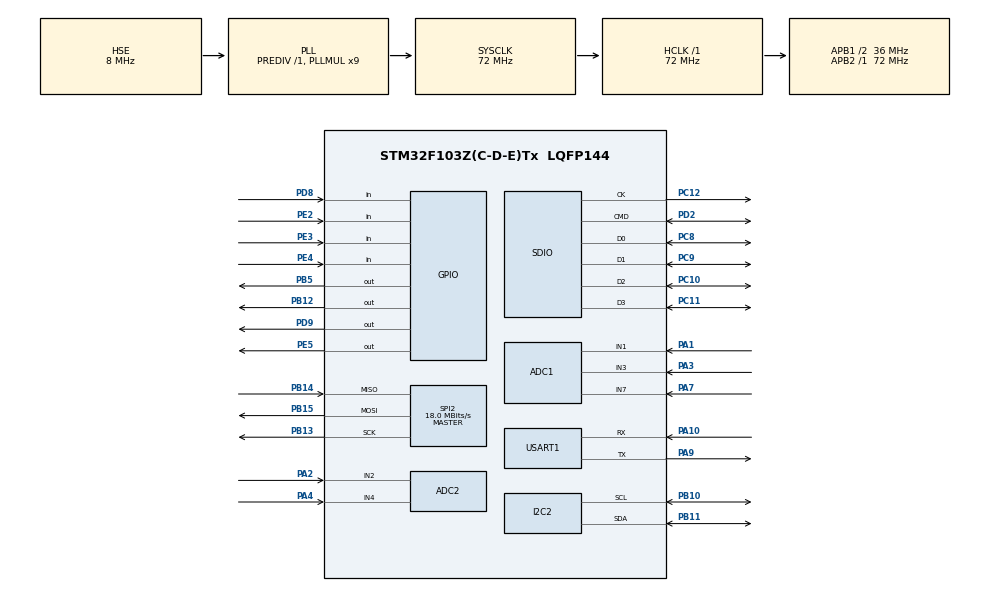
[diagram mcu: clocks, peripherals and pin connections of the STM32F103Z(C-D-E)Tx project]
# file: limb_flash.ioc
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ADC1.Channel-1\#ChannelRegularConversion=ADC_CHANNEL_1
ADC1.ContinuousConvMode=DISABLE
ADC1.NbrOfConversion=1
ADC1.NbrOfConversionFlag=1
ADC1.Rank-1\#ChannelRegularConversion=1
ADC1.SamplingTime-1\#ChannelRegularConversion=ADC_SAMPLETIME_1CYCLE_5
ADC1.master=1
ADC2.Channel-0\#ChannelRegularConversion=ADC_CHANNEL_2
ADC2.NbrOfConversionFlag=1
ADC2.Rank-0\#ChannelRegularConversion=1
ADC2.SamplingTime-0\#ChannelRegularConversion=ADC_SAMPLETIME_1CYCLE_5
Dma.Request0=SDIO
Dma.SDIO.0.Direction=DMA_PERIPH_TO_MEMORY
Dma.SDIO.0.Instance=DMA2_Channel4
Dma.SDIO.0.MemDataAlignment=DMA_MDATAALIGN_WORD
Dma.SDIO.0.MemInc=DMA_MINC_ENABLE
Dma.SDIO.0.Mode=DMA_NORMAL
Dma.SDIO.0.PeriphDataAlignment=DMA_PDATAALIGN_WORD
Dma.SDIO.0.PeriphInc=DMA_PINC_DISABLE
Dma.SDIO.0.Priority=DMA_PRIORITY_LOW
FATFS.BSP.number=1
FATFS._USE_FASTSEEK=0
FATFS0.BSP.STBoard=false
FATFS0.BSP.api=Unknown
FATFS0.BSP.i2caddr=0
FATFS0.BSP.instance=PE2
FATFS0.BSP.ip=GPIO
FATFS0.BSP.mode=Input
FATFS0.BSP.name=Detect_SDIO
FATFS0.BSP.solution=PE2
I2C2.I2C_Mode=I2C_Fast
Mcu.Family=STM32F1
Mcu.Name=STM32F103Z(C-D-E)Tx
Mcu.Package=LQFP144
NVIC.DMA2_Channel4_5_IRQn=true\:0\:0\:false\:false\:true\:false\:true
NVIC.PriorityGroup=NVIC_PRIORITYGROUP_4
NVIC.SDIO_IRQn=true\:0\:0\:false\:false\:true\:true\:true
NVIC.TIM4_IRQn=true\:0\:0\:false\:false\:true\:true\:true
NVIC.TIM6_IRQn=true\:0\:0\:false\:false\:true\:true\:true
OSC_IN.Mode=HSE-External-Oscillator
OSC_IN.Signal=RCC_OSC_IN
OSC_OUT.Mode=HSE-External-Oscillator
OSC_OUT.Signal=RCC_OSC_OUT
PA1.Signal=ADCx_IN1
PA10.Mode=Asynchronous
PA10.Signal=USART1_RX
PA13.Mode=Serial_Wire
PA13.Signal=SYS_JTMS-SWDIO
PA14.Mode=Serial_Wire
PA14.Signal=SYS_JTCK-SWCLK
PA2.Signal=ADCx_IN2
PA3.Signal=ADCx_IN3
PA4.Signal=ADCx_IN4
PA7.Signal=ADCx_IN7
PA9.Mode=Asynchronous
PA9.Signal=USART1_TX
PB10.Mode=I2C
PB10.Signal=I2C2_SCL
PB11.Mode=I2C
PB11.Signal=I2C2_SDA
PB12.Signal=GPIO_Output
PB13.Mode=Full_Duplex_Master
PB13.Signal=SPI2_SCK
PB14.Mode=Full_Duplex_Master
PB14.Signal=SPI2_MISO
PB15.Mode=Full_Duplex_Master
PB15.Signal=SPI2_MOSI
PB5.GPIO_ModeDefaultOutputPP=GPIO_MODE_OUTPUT_OD
PB5.Signal=GPIO_Output
PC10.Mode=SD_4_bits_Wide_bus
PC10.Signal=SDIO_D2
PC11.Mode=SD_4_bits_Wide_bus
PC11.Signal=SDIO_D3
PC12.Mode=SD_4_bits_Wide_bus
PC12.Signal=SDIO_CK
PC8.Mode=SD_4_bits_Wide_bus
PC8.Signal=SDIO_D0
PC9.Mode=SD_4_bits_Wide_bus
PC9.Signal=SDIO_D1
PD2.Mode=SD_4_bits_Wide_bus
PD2.Signal=SDIO_CMD
PD8.Signal=GPIO_Input
PD9.Signal=GPIO_Output
PE2.Signal=GPIO_Input
PE3.GPIO_PuPd=GPIO_PULLUP
PE3.Signal=GPIO_Input
PE4.GPIO_PuPd=GPIO_PULLUP
PE4.Signal=GPIO_Input
PE5.GPIO_ModeDefaultOutputPP=GPIO_MODE_OUTPUT_OD
PE5.Signal=GPIO_Output
ProjectManager.HeapSize=0x200
ProjectManager.StackSize=0x400
ProjectManager.TargetToolchain=STM32CubeIDE
RCC.ADCPresc=RCC_ADCPCLK2_DIV6
RCC.AHBFreq_Value=72000000
RCC.APB1CLKDivider=RCC_HCLK_DIV2
RCC.APB1Freq_Value=36000000
RCC.APB1TimFreq_Value=72000000
RCC.APB2Freq_Value=72000000
RCC.APB2TimFreq_Value=72000000
RCC.HCLKFreq_Value=72000000
RCC.PLLMUL=RCC_PLL_MUL9
RCC.PLLSourceVirtual=RCC_PLLSOURCE_HSE
RCC.SYSCLKFreq_VALUE=72000000
RCC.SYSCLKSource=RCC_SYSCLKSOURCE_PLLCLK
RCC.USBFreq_Value=72000000
RTC.Date=11
RTC.Format=RTC_FORMAT_BIN
RTC.Month=RTC_MONTH_MARCH
SDIO.ClockBypass=SDIO_CLOCK_BYPASS_DISABLE
SDIO.ClockDiv=2
SDIO.HardwareFlowControl=SDIO_HARDWARE_FLOW_CONTROL_ENABLE
SH.ADCx_IN1.0=ADC1_IN1,IN1
SH.ADCx_IN2.0=ADC2_IN2,IN2
SH.ADCx_IN3.0=ADC1_IN3,IN3
SH.ADCx_IN4.0=ADC2_IN4,IN4
SH.ADCx_IN7.0=ADC1_IN7,IN7
SPI2.BaudRatePrescaler=SPI_BAUDRATEPRESCALER_2
SPI2.CalculateBaudRate=18.0 MBits/s
SPI2.Direction=SPI_DIRECTION_2LINES
SPI2.Mode=SPI_MODE_MASTER
SPI2.VirtualType=VM_MASTER
TIM4.AutoReloadPreload=TIM_AUTORELOAD_PRELOAD_ENABLE
TIM4.Period=2000
TIM4.Prescaler=72
TIM6.AutoReloadPreload=TIM_AUTORELOAD_PRELOAD_ENABLE
TIM6.Period=25000
TIM6.Prescaler=720
USART1.VirtualMode=VM_ASYNC
VP_FATFS_VS_SDIO.Mode=SDIO
VP_RTC_VS_RTC_Activate.Mode=RTC_Enabled
VP_RTC_VS_RTC_Calendar.Mode=RTC_Calendar
VP_TIM4_VS_ClockSourceINT.Mode=Internal
VP_TIM6_VS_ClockSourceINT.Mode=Enable_Timer
board=custom

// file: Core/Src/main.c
/* USER CODE BEGIN Header */
/**
  ******************************************************************************
  * @file           : main.c
  * @brief          : Main program body
  ******************************************************************************
  * @attention
  *
  * <h2><center>&copy; Copyright (c) 2023 STMicroelectronics.
  * All rights reserved.</center></h2>
  *
  * This software component is licensed by ST under Ultimate Liberty license
  * SLA0044, the "License"; You may not use this file except in compliance with
  * the License. You may obtain a copy of the License at:
  *                             www.st.com/SLA0044
  *
  ******************************************************************************
  */
/* USER CODE END Header */
#include "main.h"
#include "fatfs.h"

/* USER CODE BEGIN Includes */
#include "common.h"
#include "mpu.h"
#include "files.h"
#include "w25q16.h"
#include <stdio.h>
#include <stdlib.h>
#include <string.h>
/* USER CODE END Includes */

ADC_HandleTypeDef hadc1;
ADC_HandleTypeDef hadc2;

I2C_HandleTypeDef hi2c2;

RTC_HandleTypeDef hrtc;

SD_HandleTypeDef hsd;
DMA_HandleTypeDef hdma_sdio;

SPI_HandleTypeDef hspi2;

TIM_HandleTypeDef htim4;
TIM_HandleTypeDef htim6;

UART_HandleTypeDef huart1;

/* USER CODE BEGIN PV */
__attribute__ ((aligned)) uint8_t flash_read_buf[W25Q16_PAGE_SIZE];
__attribute__ ((aligned)) uint8_t flash_write_buf[2][W25Q16_PAGE_SIZE];
__attribute__ ((aligned)) uint8_t csv_data_buf[CVS_DATA_SIZE_MAX];
int32_t cvs_data_len = 0;
PAGE_RAW *page_buf_read = NULL;
PAGE_RAW *page_buf_write = NULL;
uint32_t write_page_index = 0;
uint16_t file_index = 0;
W25Q16_T w25q16_info;
XYZ_INT16T xyz_accel_u, xyz_gyro_u, xyz_accel_l, xyz_gyro_l;
// #define SPEED_TEST 1
#ifdef SPEED_TEST
uint16_t speed_test_timer6_counter[4];
uint16_t speed_test_index = 0;
uint32_t speed_test_total = 0;
#endif // SPEED_TEST
/* USER CODE END PV */

void SystemClock_Config(void);
static void MX_GPIO_Init(void);
static void MX_ADC1_Init(void);
static void MX_I2C2_Init(void);
static void MX_USART1_UART_Init(void);
static void MX_ADC2_Init(void);
static void MX_DMA_Init(void);
static void MX_SDIO_SD_Init(void);
static void MX_RTC_Init(void);
static void MX_TIM4_Init(void);
static void MX_TIM6_Init(void);
static void MX_SPI2_Init(void);

int main(void)
{
  /* USER CODE BEGIN 1 */
  set_state(NOT_READY);
  /* USER CODE END 1 */

  /* MCU Configuration--------------------------------------------------------*/

  /* Reset of all peripherals, Initializes the Flash interface and the Systick. */
  HAL_Init();

  /* Configure the system clock */
  SystemClock_Config();

  /* Initialize all configured peripherals */
  MX_GPIO_Init();
  MX_ADC1_Init();
  MX_I2C2_Init();
  MX_USART1_UART_Init();
  MX_ADC2_Init();
  MX_DMA_Init();
  MX_SDIO_SD_Init();
  MX_RTC_Init();
  MX_TIM4_Init();
  MX_TIM6_Init();
  MX_SPI2_Init();
  MX_FATFS_Init();
  /* USER CODE BEGIN 2 */
  HAL_TIM_Base_Start_IT(&htim4);
  HAL_TIM_Base_Start_IT(&htim6);
  w25q16_chip_deselect();
  uint8_t reg_u = 0xFF, reg_l = 0xFF;;
  mpu_init(&hi2c2, IMU_U_I2C_ADDR_SHIFTED, &reg_u);
  mpu_init(&hi2c2, IMU_L_I2C_ADDR_SHIFTED, &reg_l);
  if(f_mount(&SDFatFS, (TCHAR const*)SDPath, 0) != FR_OK) {
    Error_Handler();
  }
  w25q16_init(&hspi2, &w25q16_info);
  if (w25q16_info.PageCount == 0) {
    Error_Handler();
  }
  w25q16_erase_chip(&hspi2);
  w25q16_wait_write_done(&hspi2);
  // Calibrate The ADC On Power-Up For Better Accuracy
  HAL_ADCEx_Calibration_Start(&hadc1);
  /* USER CODE END 2 */

  /* Infinite loop */
  /* USER CODE BEGIN WHILE */
// #define FLASH_TEST
#ifdef FLASH_TEST
  for (int i = 0;  i< 256; i++) {
    page_buf_write = (PAGE_RAW*)flash_write_buf[write_page_index & 0x01];
    memset(page_buf_write, i, W25Q16_PAGE_SIZE);
    w25q16_wait_write_done(&hspi2);
    w25q16_write(&hspi2, write_page_index << PAGE_ADDRESS_SHIFT, (uint8_t *)page_buf_write, W25Q16_PAGE_SIZE);
    write_page_index++;
  }
  w25q16_wait_write_done(&hspi2);
  for (uint32_t read_page_index = 0; read_page_index < write_page_index; read_page_index++) {
    w25q16_read(&hspi2, read_page_index << PAGE_ADDRESS_SHIFT, flash_read_buf, W25Q16_PAGE_SIZE);
    if (flash_read_buf[W25Q16_PAGE_SIZE - 1] != read_page_index) {
      w25q16_read(&hspi2, read_page_index << PAGE_ADDRESS_SHIFT, flash_read_buf, W25Q16_PAGE_SIZE);
    }
  }
  write_page_index = 0;
#endif

  set_state(READY_IDLE);
  while (1)
  {
    /* USER CODE END WHILE */

    /* USER CODE BEGIN 3 */
    STATE state = check_state();
    switch (state) {
    case COLLECTING_DATA:
      page_buf_write = (PAGE_RAW*)flash_write_buf[write_page_index & 0x01];
      for (uint8_t record_index = 0; record_index < RECORD_PER_PAGE; record_index++) {
        wait_for_counter_changed();
#ifdef SPEED_TEST
        speed_test_timer6_counter[0] = read_TIM6_counter();
#endif // SPEED_TEST
        srat_ADC(&hadc1, ADC_CHANNEL_1);  // PA1
        srat_ADC(&hadc2, ADC_CHANNEL_2);  // PA2
        page_buf_write->data_raw_buffer[record_index].ad[0] = read_ADC(&hadc1);
        page_buf_write->data_raw_buffer[record_index].ad[1] = read_ADC(&hadc2);
        srat_ADC(&hadc1, ADC_CHANNEL_3);  // PA3
        srat_ADC(&hadc2, ADC_CHANNEL_4);  // PA4
        page_buf_write->data_raw_buffer[record_index].ad[2] = read_ADC(&hadc1);
        page_buf_write->data_raw_buffer[record_index].ad[3] = read_ADC(&hadc2);
        srat_ADC(&hadc1, ADC_CHANNEL_7);  // PA7
        page_buf_write->data_raw_buffer[record_index].ad[4] = read_ADC(&hadc1);
        page_buf_write->data_raw_buffer[record_index].ad[5] = 0;
        i2c_read_regs(&hi2c2, IMU_U_I2C_ADDR_SHIFTED, MPU6XXX_RA_ACCEL_XOUT_H, 6,
            page_buf_write->data_raw_buffer[record_index].accel_u);
        i2c_read_regs(&hi2c2, IMU_U_I2C_ADDR_SHIFTED, MPU6XXX_RA_GYRO_XOUT_H, 6,
            page_buf_write->data_raw_buffer[record_index].gyro_u);
        i2c_read_regs(&hi2c2, IMU_L_I2C_ADDR_SHIFTED, MPU6XXX_RA_ACCEL_XOUT_H, 6,
            page_buf_write->data_raw_buffer[record_index].accel_l);
        i2c_read_regs(&hi2c2, IMU_L_I2C_ADDR_SHIFTED, MPU6XXX_RA_GYRO_XOUT_H, 6,
            page_buf_write->data_raw_buffer[record_index].gyro_l);
      }
#ifdef SPEED_TEST
      speed_test_timer6_counter[1] = read_TIM6_counter();
#endif // SPEED_TEST
      w25q16_wait_write_done(&hspi2);
#ifdef SPEED_TEST
      speed_test_timer6_counter[2] = read_TIM6_counter();
#endif // SPEED_TEST
      w25q16_write(&hspi2, write_page_index << PAGE_ADDRESS_SHIFT, (uint8_t *)page_buf_write, W25Q16_PAGE_SIZE);
#ifdef SPEED_TEST
      speed_test_timer6_counter[3] = read_TIM6_counter();

      if (speed_test_timer6_counter[3] > speed_test_timer6_counter[0]) {
        speed_test_total += speed_test_timer6_counter[3] - speed_test_timer6_counter[0];
      } else {
        speed_test_total += 25000 + speed_test_timer6_counter[3] - speed_test_timer6_counter[0];
      }
      ++speed_test_index;
      if (speed_test_index >= 100) {
        speed_test_index = 0;
        speed_test_total = 0;
      }
#endif // SPEED_TEST
      ++write_page_index;
      if (write_page_index >= w25q16_info.PageCount) {
        set_state(SAVEING_TO_FILE);
      }
      break;
    case SAVEING_TO_FILE:
      file_index = get_file_index();
      if (file_index == 0) {
        set_state(NOT_READY);
        Error_Handler();
      }
      char data_file_name[16];
      snprintf(data_file_name, 15, "dr%06d.csv", file_index);
      if(f_open(&SDFile, data_file_name, FA_CREATE_ALWAYS | FA_WRITE) != FR_OK)
      {
        set_state(NOT_READY);
        Error_Handler();
      } else {
        cvs_data_len = snprintf(csv_data_buf, CVS_DATA_SIZE_MAX, "file,%d,,page,%ld,max,%ld,,records,%ld\r\n",
            file_index, write_page_index, w25q16_info.PageCount, write_page_index * RECORD_PER_PAGE);
        write_data_record(csv_data_buf, cvs_data_len);
        w25q16_wait_write_done(&hspi2);
        for (uint32_t read_page_index = 0; read_page_index < write_page_index; read_page_index++) {
          w25q16_read(&hspi2, read_page_index << PAGE_ADDRESS_SHIFT, flash_read_buf, W25Q16_PAGE_SIZE);
          page_buf_read = (PAGE_RAW*)flash_read_buf;
          for (uint8_t record_index = 0; record_index < RECORD_PER_PAGE; record_index++) {
            mpu_raw_to_xyz(page_buf_read->data_raw_buffer[record_index].accel_u, &xyz_accel_u);
            mpu_raw_to_xyz(page_buf_read->data_raw_buffer[record_index].gyro_u, &xyz_gyro_u);
            mpu_raw_to_xyz(page_buf_read->data_raw_buffer[record_index].accel_l, &xyz_accel_l);
            mpu_raw_to_xyz(page_buf_read->data_raw_buffer[record_index].gyro_l, &xyz_gyro_l);

            cvs_data_len = snprintf(csv_data_buf, CVS_DATA_SIZE_MAX,
            /*
             * gyro lower z -----------------------------------------
             * gyro lower y --------------------------------------   |
             * gyro lower x -----------------------------------   |  |
             * accel lower z -------------------------------   |  |  |
             * accel lower y ----------------------------   |  |  |  |
             * accel lower x -------------------------   |  |  |  |  |
             * gyro upper z -----------------------   |  |  |  |  |  |
             * gyro upper y --------------------   |  |  |  |  |  |  |
             * gyro upper x -----------------   |  |  |  |  |  |  |  |
             * accel upper z -------------   |  |  |  |  |  |  |  |  |
             * accel upper y ----------   |  |  |  |  |  |  |  |  |  |
             * accel upper x -------   |  |  |  |  |  |  |  |  |  |  |
             *   a1 a2 a3 a4 a5 a6  |  |  |  |  |  |  |  |  |  |  |  |
             *    |  |  |  |  |  |  |  |  |  |  |  |  |  |  |  |  |  |       */
                "%d,%d,%d,%d,%d,%d,%d,%d,%d,%d,%d,%d,%d,%d,%d,%d,%d,%d\r\n",
                page_buf_read->data_raw_buffer[record_index].ad[0],
                page_buf_read->data_raw_buffer[record_index].ad[1],
                page_buf_read->data_raw_buffer[record_index].ad[2],
                page_buf_read->data_raw_buffer[record_index].ad[3],
                page_buf_read->data_raw_buffer[record_index].ad[4],
                page_buf_read->data_raw_buffer[record_index].ad[5],
                xyz_accel_u.x, xyz_accel_u.y, xyz_accel_u.z, xyz_gyro_u.x, xyz_gyro_u.y, xyz_gyro_u.z,
                xyz_accel_l.x, xyz_accel_l.y, xyz_accel_l.z, xyz_gyro_l.x, xyz_gyro_l.y, xyz_gyro_l.z);
            write_data_record(csv_data_buf, cvs_data_len);
          }
        }
        f_close(&SDFile);
        w25q16_erase_chip(&hspi2);
        w25q16_wait_write_done(&hspi2);
        write_page_index = 0;
        set_state(READY_IDLE);
      }
      break;
    default:
      break;
    }
  }
  // f_mount(&SDFatFS, (TCHAR const*)NULL, 0);
  /* USER CODE END 3 */
}

void SystemClock_Config(void)
{
  RCC_OscInitTypeDef RCC_OscInitStruct = {0};
  RCC_ClkInitTypeDef RCC_ClkInitStruct = {0};
  RCC_PeriphCLKInitTypeDef PeriphClkInit = {0};

  /** Initializes the RCC Oscillators according to the specified parameters
  * in the RCC_OscInitTypeDef structure.
  */
  RCC_OscInitStruct.OscillatorType = RCC_OSCILLATORTYPE_LSI|RCC_OSCILLATORTYPE_HSE;
  RCC_OscInitStruct.HSEState = RCC_HSE_ON;
  RCC_OscInitStruct.HSEPredivValue = RCC_HSE_PREDIV_DIV1;
  RCC_OscInitStruct.HSIState = RCC_HSI_ON;
  RCC_OscInitStruct.LSIState = RCC_LSI_ON;
  RCC_OscInitStruct.PLL.PLLState = RCC_PLL_ON;
  RCC_OscInitStruct.PLL.PLLSource = RCC_PLLSOURCE_HSE;
  RCC_OscInitStruct.PLL.PLLMUL = RCC_PLL_MUL9;
  if (HAL_RCC_OscConfig(&RCC_OscInitStruct) != HAL_OK)
  {
    Error_Handler();
  }
  /** Initializes the CPU, AHB and APB buses clocks
  */
  RCC_ClkInitStruct.ClockType = RCC_CLOCKTYPE_HCLK|RCC_CLOCKTYPE_SYSCLK
                              |RCC_CLOCKTYPE_PCLK1|RCC_CLOCKTYPE_PCLK2;
  RCC_ClkInitStruct.SYSCLKSource = RCC_SYSCLKSOURCE_PLLCLK;
  RCC_ClkInitStruct.AHBCLKDivider = RCC_SYSCLK_DIV1;
  RCC_ClkInitStruct.APB1CLKDivider = RCC_HCLK_DIV2;
  RCC_ClkInitStruct.APB2CLKDivider = RCC_HCLK_DIV1;

  if (HAL_RCC_ClockConfig(&RCC_ClkInitStruct, FLASH_LATENCY_2) != HAL_OK)
  {
    Error_Handler();
  }
  PeriphClkInit.PeriphClockSelection = RCC_PERIPHCLK_RTC|RCC_PERIPHCLK_ADC;
  PeriphClkInit.RTCClockSelection = RCC_RTCCLKSOURCE_LSI;
  PeriphClkInit.AdcClockSelection = RCC_ADCPCLK2_DIV6;
  if (HAL_RCCEx_PeriphCLKConfig(&PeriphClkInit) != HAL_OK)
  {
    Error_Handler();
  }
}

static void MX_ADC1_Init(void)
{

  ADC_ChannelConfTypeDef sConfig = {0};

  /** Common config
  */
  hadc1.Instance = ADC1;
  hadc1.Init.ScanConvMode = ADC_SCAN_DISABLE;
  hadc1.Init.ContinuousConvMode = DISABLE;
  hadc1.Init.DiscontinuousConvMode = DISABLE;
  hadc1.Init.ExternalTrigConv = ADC_SOFTWARE_START;
  hadc1.Init.DataAlign = ADC_DATAALIGN_RIGHT;
  hadc1.Init.NbrOfConversion = 1;
  if (HAL_ADC_Init(&hadc1) != HAL_OK)
  {
    Error_Handler();
  }
  /** Configure Regular Channel
  */
  sConfig.Channel = ADC_CHANNEL_1;
  sConfig.Rank = ADC_REGULAR_RANK_1;
  sConfig.SamplingTime = ADC_SAMPLETIME_1CYCLE_5;
  if (HAL_ADC_ConfigChannel(&hadc1, &sConfig) != HAL_OK)
  {
    Error_Handler();
  }

}

static void MX_ADC2_Init(void)
{

  ADC_ChannelConfTypeDef sConfig = {0};

  /** Common config
  */
  hadc2.Instance = ADC2;
  hadc2.Init.ScanConvMode = ADC_SCAN_DISABLE;
  hadc2.Init.ContinuousConvMode = DISABLE;
  hadc2.Init.DiscontinuousConvMode = DISABLE;
  hadc2.Init.ExternalTrigConv = ADC_SOFTWARE_START;
  hadc2.Init.DataAlign = ADC_DATAALIGN_RIGHT;
  hadc2.Init.NbrOfConversion = 1;
  if (HAL_ADC_Init(&hadc2) != HAL_OK)
  {
    Error_Handler();
  }
  /** Configure Regular Channel
  */
  sConfig.Channel = ADC_CHANNEL_2;
  sConfig.Rank = ADC_REGULAR_RANK_1;
  sConfig.SamplingTime = ADC_SAMPLETIME_1CYCLE_5;
  if (HAL_ADC_ConfigChannel(&hadc2, &sConfig) != HAL_OK)
  {
    Error_Handler();
  }

}

static void MX_I2C2_Init(void)
{

  hi2c2.Instance = I2C2;
  hi2c2.Init.ClockSpeed = 400000;
  hi2c2.Init.DutyCycle = I2C_DUTYCYCLE_2;
  hi2c2.Init.OwnAddress1 = 0;
  hi2c2.Init.AddressingMode = I2C_ADDRESSINGMODE_7BIT;
  hi2c2.Init.DualAddressMode = I2C_DUALADDRESS_DISABLE;
  hi2c2.Init.OwnAddress2 = 0;
  hi2c2.Init.GeneralCallMode = I2C_GENERALCALL_DISABLE;
  hi2c2.Init.NoStretchMode = I2C_NOSTRETCH_DISABLE;
  if (HAL_I2C_Init(&hi2c2) != HAL_OK)
  {
    Error_Handler();
  }

}

static void MX_RTC_Init(void)
{

  RTC_TimeTypeDef sTime = {0};
  RTC_DateTypeDef DateToUpdate = {0};

  /** Initialize RTC Only
  */
  hrtc.Instance = RTC;
  hrtc.Init.AsynchPrediv = RTC_AUTO_1_SECOND;
  hrtc.Init.OutPut = RTC_OUTPUTSOURCE_ALARM;
  if (HAL_RTC_Init(&hrtc) != HAL_OK)
  {
    Error_Handler();
  }

  /** Initialize RTC and set the Time and Date
  */
  sTime.Hours = 0;
  sTime.Minutes = 0;
  sTime.Seconds = 0;

  if (HAL_RTC_SetTime(&hrtc, &sTime, RTC_FORMAT_BIN) != HAL_OK)
  {
    Error_Handler();
  }
  DateToUpdate.WeekDay = RTC_WEEKDAY_MONDAY;
  DateToUpdate.Month = RTC_MONTH_MARCH;
  DateToUpdate.Date = 11;
  DateToUpdate.Year = 0;

  if (HAL_RTC_SetDate(&hrtc, &DateToUpdate, RTC_FORMAT_BIN) != HAL_OK)
  {
    Error_Handler();
  }

}

static void MX_SDIO_SD_Init(void)
{

  hsd.Instance = SDIO;
  hsd.Init.ClockEdge = SDIO_CLOCK_EDGE_RISING;
  hsd.Init.ClockBypass = SDIO_CLOCK_BYPASS_DISABLE;
  hsd.Init.ClockPowerSave = SDIO_CLOCK_POWER_SAVE_DISABLE;
  hsd.Init.BusWide = SDIO_BUS_WIDE_1B;
  hsd.Init.HardwareFlowControl = SDIO_HARDWARE_FLOW_CONTROL_ENABLE;
  hsd.Init.ClockDiv = 2;

}

static void MX_SPI2_Init(void)
{

  /* SPI2 parameter configuration*/
  hspi2.Instance = SPI2;
  hspi2.Init.Mode = SPI_MODE_MASTER;
  hspi2.Init.Direction = SPI_DIRECTION_2LINES;
  hspi2.Init.DataSize = SPI_DATASIZE_8BIT;
  hspi2.Init.CLKPolarity = SPI_POLARITY_LOW;
  hspi2.Init.CLKPhase = SPI_PHASE_1EDGE;
  hspi2.Init.NSS = SPI_NSS_SOFT;
  hspi2.Init.BaudRatePrescaler = SPI_BAUDRATEPRESCALER_2;
  hspi2.Init.FirstBit = SPI_FIRSTBIT_MSB;
  hspi2.Init.TIMode = SPI_TIMODE_DISABLE;
  hspi2.Init.CRCCalculation = SPI_CRCCALCULATION_DISABLE;
  hspi2.Init.CRCPolynomial = 10;
  if (HAL_SPI_Init(&hspi2) != HAL_OK)
  {
    Error_Handler();
  }

}

static void MX_TIM4_Init(void)
{

  TIM_ClockConfigTypeDef sClockSourceConfig = {0};
  TIM_MasterConfigTypeDef sMasterConfig = {0};

  htim4.Instance = TIM4;
  htim4.Init.Prescaler = 72;
  htim4.Init.CounterMode = TIM_COUNTERMODE_UP;
  htim4.Init.Period = 2000;
  htim4.Init.ClockDivision = TIM_CLOCKDIVISION_DIV1;
  htim4.Init.AutoReloadPreload = TIM_AUTORELOAD_PRELOAD_ENABLE;
  if (HAL_TIM_Base_Init(&htim4) != HAL_OK)
  {
    Error_Handler();
  }
  sClockSourceConfig.ClockSource = TIM_CLOCKSOURCE_INTERNAL;
  if (HAL_TIM_ConfigClockSource(&htim4, &sClockSourceConfig) != HAL_OK)
  {
    Error_Handler();
  }
  sMasterConfig.MasterOutputTrigger = TIM_TRGO_RESET;
  sMasterConfig.MasterSlaveMode = TIM_MASTERSLAVEMODE_DISABLE;
  if (HAL_TIMEx_MasterConfigSynchronization(&htim4, &sMasterConfig) != HAL_OK)
  {
    Error_Handler();
  }

}

static void MX_TIM6_Init(void)
{

  TIM_MasterConfigTypeDef sMasterConfig = {0};

  htim6.Instance = TIM6;
  htim6.Init.Prescaler = 720;
  htim6.Init.CounterMode = TIM_COUNTERMODE_UP;
  htim6.Init.Period = 25000;
  htim6.Init.AutoReloadPreload = TIM_AUTORELOAD_PRELOAD_ENABLE;
  if (HAL_TIM_Base_Init(&htim6) != HAL_OK)
  {
    Error_Handler();
  }
  sMasterConfig.MasterOutputTrigger = TIM_TRGO_RESET;
  sMasterConfig.MasterSlaveMode = TIM_MASTERSLAVEMODE_DISABLE;
  if (HAL_TIMEx_MasterConfigSynchronization(&htim6, &sMasterConfig) != HAL_OK)
  {
    Error_Handler();
  }

}

static void MX_USART1_UART_Init(void)
{

  huart1.Instance = USART1;
  huart1.Init.BaudRate = 115200;
  huart1.Init.WordLength = UART_WORDLENGTH_8B;
  huart1.Init.StopBits = UART_STOPBITS_1;
  huart1.Init.Parity = UART_PARITY_NONE;
  huart1.Init.Mode = UART_MODE_TX_RX;
  huart1.Init.HwFlowCtl = UART_HWCONTROL_NONE;
  huart1.Init.OverSampling = UART_OVERSAMPLING_16;
  if (HAL_UART_Init(&huart1) != HAL_OK)
  {
    Error_Handler();
  }

}

static void MX_DMA_Init(void)
{

  /* DMA controller clock enable */
  __HAL_RCC_DMA2_CLK_ENABLE();

  /* DMA interrupt init */
  /* DMA2_Channel4_5_IRQn interrupt configuration */
  HAL_NVIC_SetPriority(DMA2_Channel4_5_IRQn, 0, 0);
  HAL_NVIC_EnableIRQ(DMA2_Channel4_5_IRQn);

}

static void MX_GPIO_Init(void)
{
  GPIO_InitTypeDef GPIO_InitStruct = {0};

  /* GPIO Ports Clock Enable */
  __HAL_RCC_GPIOE_CLK_ENABLE();
  __HAL_RCC_GPIOA_CLK_ENABLE();
  __HAL_RCC_GPIOB_CLK_ENABLE();
  __HAL_RCC_GPIOD_CLK_ENABLE();
  __HAL_RCC_GPIOC_CLK_ENABLE();

  /*Configure GPIO pin Output Level */
  HAL_GPIO_WritePin(GPIOE, GPIO_PIN_5, GPIO_PIN_RESET);

  /*Configure GPIO pin Output Level */
  HAL_GPIO_WritePin(GPIOB, GPIO_PIN_12|GPIO_PIN_5, GPIO_PIN_RESET);

  /*Configure GPIO pin Output Level */
  HAL_GPIO_WritePin(GPIOD, GPIO_PIN_9, GPIO_PIN_RESET);

  /*Configure GPIO pin : PE2 */
  GPIO_InitStruct.Pin = GPIO_PIN_2;
  GPIO_InitStruct.Mode = GPIO_MODE_INPUT;
  GPIO_InitStruct.Pull = GPIO_NOPULL;
  HAL_GPIO_Init(GPIOE, &GPIO_InitStruct);

  /*Configure GPIO pins : PE3 PE4 */
  GPIO_InitStruct.Pin = GPIO_PIN_3|GPIO_PIN_4;
  GPIO_InitStruct.Mode = GPIO_MODE_INPUT;
  GPIO_InitStruct.Pull = GPIO_PULLUP;
  HAL_GPIO_Init(GPIOE, &GPIO_InitStruct);

  /*Configure GPIO pin : PE5 */
  GPIO_InitStruct.Pin = GPIO_PIN_5;
  GPIO_InitStruct.Mode = GPIO_MODE_OUTPUT_OD;
  GPIO_InitStruct.Pull = GPIO_NOPULL;
  GPIO_InitStruct.Speed = GPIO_SPEED_FREQ_LOW;
  HAL_GPIO_Init(GPIOE, &GPIO_InitStruct);

  /*Configure GPIO pin : PB12 */
  GPIO_InitStruct.Pin = GPIO_PIN_12;
  GPIO_InitStruct.Mode = GPIO_MODE_OUTPUT_PP;
  GPIO_InitStruct.Pull = GPIO_NOPULL;
  GPIO_InitStruct.Speed = GPIO_SPEED_FREQ_LOW;
  HAL_GPIO_Init(GPIOB, &GPIO_InitStruct);

  /*Configure GPIO pin : PD8 */
  GPIO_InitStruct.Pin = GPIO_PIN_8;
  GPIO_InitStruct.Mode = GPIO_MODE_INPUT;
  GPIO_InitStruct.Pull = GPIO_NOPULL;
  HAL_GPIO_Init(GPIOD, &GPIO_InitStruct);

  /*Configure GPIO pin : PD9 */
  GPIO_InitStruct.Pin = GPIO_PIN_9;
  GPIO_InitStruct.Mode = GPIO_MODE_OUTPUT_PP;
  GPIO_InitStruct.Pull = GPIO_NOPULL;
  GPIO_InitStruct.Speed = GPIO_SPEED_FREQ_LOW;
  HAL_GPIO_Init(GPIOD, &GPIO_InitStruct);

  /*Configure GPIO pin : PB5 */
  GPIO_InitStruct.Pin = GPIO_PIN_5;
  GPIO_InitStruct.Mode = GPIO_MODE_OUTPUT_OD;
  GPIO_InitStruct.Pull = GPIO_NOPULL;
  GPIO_InitStruct.Speed = GPIO_SPEED_FREQ_LOW;
  HAL_GPIO_Init(GPIOB, &GPIO_InitStruct);

}

void Error_Handler(void)
{
  __disable_irq();
  while (1)
  {
  }
}

/************************ (C) COPYRIGHT STMicroelectronics *****END OF FILE****/
